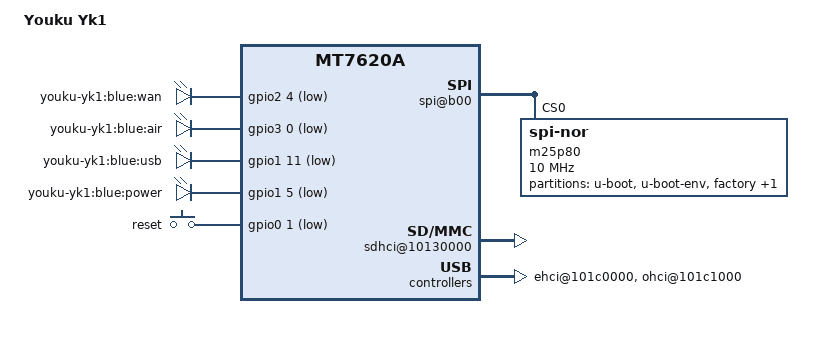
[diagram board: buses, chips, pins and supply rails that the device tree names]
/dts-v1/;

/include/ "mt7620a.dtsi"

/ {
	compatible = "YOUKU YK1", "ralink,mt7620a-soc";
	model = "Youku Yk1";

	palmbus@10000000 {

		gpio0: gpio@600 {
			status = "okay";
		};

		gpio1: gpio@638 {
			status = "okay";
		};

		gpio2: gpio@660 {
			status = "okay";
		};

		gpio3: gpio@688 {
			status = "okay";
		};

		spi@b00 {
			status = "okay";

			m25p80@0 {
				#address-cells = <1>;
				#size-cells = <1>;
				compatible = "jedec,spi-nor";
				reg = <0 0>;
				spi-max-frequency = <10000000>;

				partition@0 {
					label = "u-boot";
					reg = <0x0 0x30000>;
				};

				partition@30000 {
					label = "u-boot-env";
					reg = <0x30000 0x10000>;
				};

				factory: partition@40000 {
					label = "factory";
					reg = <0x40000 0x10000>;
				};

				partition@50000 {
					label = "firmware";
					reg = <0x50000 0x1fb0000>;
				};
			};
		};
	};

	pinctrl {
		state_default: pinctrl0 {
			default {
				ralink,group = "i2c", "uartf", "rgmii1", "rgmii2", "ephy", "wled", "nd_sd";
				ralink,function = "gpio";
			};
		};
	};

	ethernet@10100000 {
		pinctrl-names = "default";
		pinctrl-0 = <&ephy_pins>;
		mtd-mac-address = <&factory 0x4>;
		ralink,port-map = "llllw";
	};

	wmac@10180000 {
		ralink,mtd-eeprom = <&factory 0>;
	};

	sdhci@10130000 {
		compatible = "ralink,mt7620-sdhci";
		reg = <0x10130000 4000>;
		interrupt-parent = <&intc>;
		interrupts = <14>;
		status = "okay";
	};

	ehci@101c0000 {
		status = "okay";
	};

	ohci@101c1000 {
		status = "okay";
	};

	gpio-leds {
		compatible = "gpio-leds";
		wan {
			label = "youku-yk1:blue:wan";
			gpios = <&gpio2 4 1>;
		};
		air {
			label = "youku-yk1:blue:air";
			gpios = <&gpio3 0 1>;
		};
		usb {
			label = "youku-yk1:blue:usb";
			gpios = <&gpio1 11 1>;
		};
		power {
			label = "youku-yk1:blue:power";
			gpios = <&gpio1 5 1>;
		};
	};

	gpio-keys-polled {
		compatible = "gpio-keys-polled";
		#address-cells = <1>;
		#size-cells = <0>;
		poll-interval = <20>;
		reset {
			label = "reset";
			gpios = <&gpio0 1 1>;
			linux,code = <0x198>;
		};
	};
};
